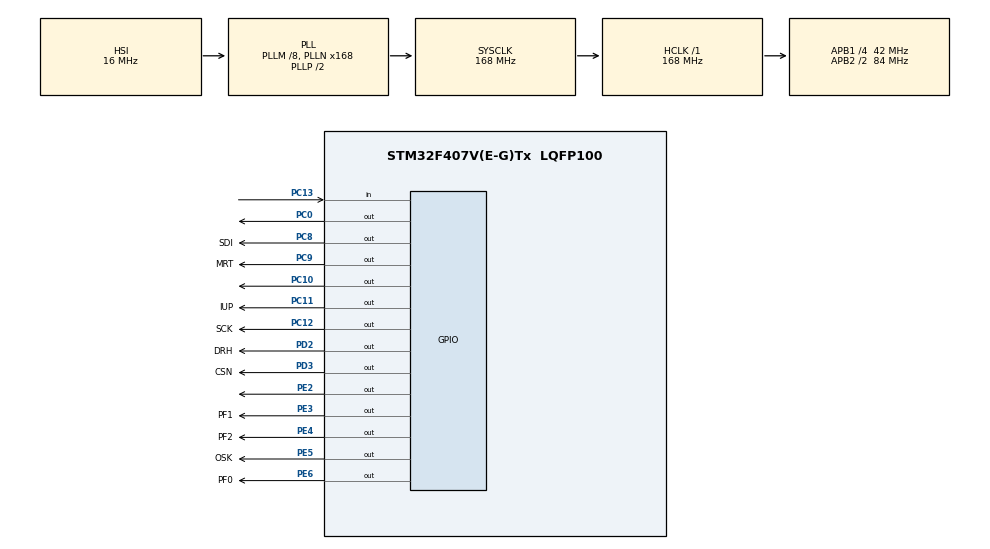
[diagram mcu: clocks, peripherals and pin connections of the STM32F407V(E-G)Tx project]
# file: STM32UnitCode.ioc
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Mcu.Family=STM32F4
Mcu.Name=STM32F407V(E-G)Tx
Mcu.Package=LQFP100
NVIC.PriorityGroup=NVIC_PRIORITYGROUP_4
PA13.Mode=Serial_Wire
PA13.Signal=SYS_JTMS-SWDIO
PA14.Mode=Serial_Wire
PA14.Signal=SYS_JTCK-SWCLK
PC0.Signal=GPIO_Output
PC10.Signal=GPIO_Output
PC11.GPIO_Label=IUP
PC11.Signal=GPIO_Output
PC12.GPIO_Label=SCK
PC12.Signal=GPIO_Output
PC13-ANTI_TAMP.Signal=GPIO_Input
PC14-OSC32_IN.Mode=LSE-External-Oscillator
PC14-OSC32_IN.Signal=RCC_OSC32_IN
PC15-OSC32_OUT.Mode=LSE-External-Oscillator
PC15-OSC32_OUT.Signal=RCC_OSC32_OUT
PC8.GPIO_Label=SDI
PC8.Signal=GPIO_Output
PC9.GPIO_Label=MRT
PC9.Signal=GPIO_Output
PD2.GPIO_Label=DRH
PD2.Signal=GPIO_Output
PD3.GPIO_Label=CSN
PD3.Signal=GPIO_Output
PE2.Signal=GPIO_Output
PE3.GPIO_Label=PF1
PE3.Signal=GPIO_Output
PE4.GPIO_Label=PF2
PE4.Signal=GPIO_Output
PE5.GPIO_Label=OSK
PE5.Signal=GPIO_Output
PE6.GPIO_Label=PF0
PE6.Signal=GPIO_Output
PH0-OSC_IN.Mode=HSE-External-Oscillator
PH0-OSC_IN.Signal=RCC_OSC_IN
PH1-OSC_OUT.Mode=HSE-External-Oscillator
PH1-OSC_OUT.Signal=RCC_OSC_OUT
ProjectManager.HeapSize=0x200
ProjectManager.StackSize=0x400
ProjectManager.TargetToolchain=Makefile
RCC.48MHZClocksFreq_Value=48000000
RCC.AHBFreq_Value=168000000
RCC.APB1CLKDivider=RCC_HCLK_DIV4
RCC.APB1Freq_Value=42000000
RCC.APB1TimFreq_Value=84000000
RCC.APB2CLKDivider=RCC_HCLK_DIV2
RCC.APB2Freq_Value=84000000
RCC.APB2TimFreq_Value=168000000
RCC.CortexFreq_Value=168000000
RCC.HCLKFreq_Value=168000000
RCC.HSE_VALUE=25000000
RCC.HSI_VALUE=16000000
RCC.PLLM=8
RCC.PLLN=168
RCC.PLLQ=7
RCC.SYSCLKFreq_VALUE=168000000
RCC.SYSCLKSource=RCC_SYSCLKSOURCE_PLLCLK
RCC.VCOOutputFreq_Value=336000000
board=custom

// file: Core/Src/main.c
/* USER CODE BEGIN Header */
/**
  ******************************************************************************
  * @file           : main.c
  * @brief          : AD9910 全功能循环验证（软件 SPI）
  * @details        : 每 3 秒切换：单频(20MHz) → OSK(幅度减半) → DRG(20~30MHz扫频)
  *                   → RAM(10MHz幅度正弦调制) → 三角波(~2.4kHz) → 方波(~2.4kHz)
  *                   所有功能均基于 Profile0，不使用 FPGA 并行口。
  *
  *                   修复记录：
  *                   - case1(OSK)：ASF 寄存器位域改为 [15:2]（原 <<18 错误），
  *                     并拉高 OSK 引脚（OSK 低电平输出强制为 0）
  *                   - case3(RAM)：调整为 先 RAMSetProfile 设边界 -> SelectProfile
  *                     -> RAMWrite（写入范围由选中的 RAM Profile 起止地址决定）
  *                   - case4/5：三角波/方波 = RAM 幅度回放 + 载波 FTW=0 + 相位90°，
  *                     输出直接等于包络（单极性 0~满幅，DDS 无负半周）
  *                   - 移除调试残留：state 写死、case2 的 while(1)
  ******************************************************************************
  */
/* USER CODE END Header */

#include "main.h"
#include "gpio.h"

/* USER CODE BEGIN Includes */
#include "ad9910_sw.h"
#include <math.h>     // 用于 RAM 正弦表生成
/* USER CODE END Includes */

/* USER CODE BEGIN PM */

// -------------------- 引脚配置（根据 FPGA 原理图映射） --------------------
const AD9910_SW_PinConfig pin_cfg = {
    .sck_port = GPIOC, .sck_pin = GPIO_PIN_8,   // C08
    .sdi_port = GPIOC, .sdi_pin = GPIO_PIN_12,  // C12
    .cs_port  = GPIOC, .cs_pin  = GPIO_PIN_9,   // C09
    .rst_port = GPIOD, .rst_pin = GPIO_PIN_3,   // D03
    .iup_port = GPIOD, .iup_pin = GPIO_PIN_2,   // D02

    .pf0_port = GPIOE, .pf0_pin = GPIO_PIN_5,   // E05
    .pf1_port = GPIOE, .pf1_pin = GPIO_PIN_4,   // E04
    .pf2_port = GPIOE, .pf2_pin = GPIO_PIN_3,   // E03
    .osk_port = GPIOE, .osk_pin = GPIO_PIN_6,   // E06
    .drc_port = GPIOC, .drc_pin = GPIO_PIN_10,  // C10
    .drh_port = GPIOC, .drh_pin = GPIO_PIN_11,  // C11
};

AD9910_SW_HandleTypeDef had9910;

// RAM 数据缓冲区（1024 点，全局静态）
static uint32_t ram_data[1024];

/* USER CODE END PM */

void SystemClock_Config(void);
/* USER CODE BEGIN PFP */
static void generate_ram_sine_wave(uint16_t amplitude_max);
static void generate_ram_triangle_wave(uint16_t amplitude_max);
static void generate_ram_square_wave(uint16_t amplitude_max);
static void play_ram_amp_wave(uint16_t step_rate, float carrier_hz);
static void set_single_tone(float freq_hz, uint16_t amp, float phase_deg);
/* USER CODE END PFP */

/* USER CODE BEGIN 0 */

/**
  * @brief  生成半正弦波幅度表（逆序存储，适配 RAM 写入顺序）
  * @param  amplitude_max : 14-bit 最大幅度值 (0~0x3FFF)
  */
static void generate_ram_sine_wave(uint16_t amplitude_max)
{
    for (int i = 0; i < 1024; i++) {
        double val = amplitude_max * sin((double)i * 3.1415926 / 1023.0);
        uint32_t reg_val = (uint32_t)(val + 0.5) << 18; // RAM 幅度字格式：ASF 位于 [31:18]
        // 逆序存放：索引 0 对应最高地址（1023），满足驱动要求
        ram_data[1023 - i] = reg_val;
    }
}

/**
  * @brief  生成三角波幅度表（逆序存储）：0 -> max -> 0
  */
static void generate_ram_triangle_wave(uint16_t amplitude_max)
{
    for (int i = 0; i < 1024; i++) {
        uint32_t v = (i < 512) ? ((uint32_t)amplitude_max * i / 512)
                               : ((uint32_t)amplitude_max * (1023 - i) / 512);
        ram_data[1023 - i] = v << 18;
    }
}

/**
  * @brief  生成方波幅度表（逆序存储）：前半周 max，后半周 0
  */
static void generate_ram_square_wave(uint16_t amplitude_max)
{
    for (int i = 0; i < 1024; i++) {
        uint32_t v = (i < 512) ? amplitude_max : 0;
        ram_data[1023 - i] = v << 18;
    }
}

/**
  * @brief  RAM 幅度回放公共流程（顺序不能乱）：
  *         失能 RAM -> 设 Profile 边界 -> 选中 profile -> 写数据 -> 使能回放 -> 载波
  * @param  step_rate  地址步进速率：波形频率 = 250MHz / (step_rate × 1024)
  * @param  carrier_hz 载波频率；基带波形(三角/方波)传 0 并配合相位 90°
  */
static void play_ram_amp_wave(uint16_t step_rate, float carrier_hz)
{
    AD9910_SW_RAMDisable(&had9910);
    AD9910_SW_RAMSetProfile(&had9910, 0, step_rate, 0, 1023, AD9910_RAM_MODE_CONT_RECIRC);
    AD9910_SW_SelectProfile(&had9910, 0);
    AD9910_SW_RAMWrite(&had9910, ram_data, 1024);
    AD9910_SW_RAMEnable(&had9910, AD9910_CFR1_RAM_DEST_AMP);
    AD9910_SW_SetFTW(&had9910, carrier_hz);
}

/**
  * @brief  便捷函数：设置 Profile0 单频参数
  */
static void set_single_tone(float freq_hz, uint16_t amp, float phase_deg)
{
    AD9910_SW_SingleToneSet(&had9910, 0, freq_hz, amp, phase_deg);
    AD9910_SW_SelectProfile(&had9910, 0);
}

/* USER CODE END 0 */

int main(void)
{
  HAL_Init();
  SystemClock_Config();
  MX_GPIO_Init();   // CubeMX 生成，包含所有 GPIO 初始化

  /* USER CODE BEGIN 2 */
  // 1. AD9910 初始化（复位、PLL 40 倍频至 1GHz）
  had9910.sysclk_hz = 1000000000UL;
  AD9910_SW_Init(&had9910, &pin_cfg);

  // 2. RAM 数据表在各状态中按需生成

  // 3. 初始化状态机
  uint8_t state = 2;
  const uint32_t interval_ms = 3000;

  /* USER CODE END 2 */

  while (1)
  {
    switch (state)
    {
        case 0:  // ---------- 单频 20MHz ----------
        {
            AD9910_SW_SingleToneInit(&had9910);
            set_single_tone(20e6f, 0x3FFF, 0.0f);
            break;
        }

        case 1:  // ---------- OSK 自动幅度控制（幅度减半） ----------
        {
            // 载波 20MHz（OSK 使能后幅度由 OSK 接管，Profile 幅度无效，频率照常）
            AD9910_SW_SingleToneInit(&had9910);
            set_single_tone(20e6f, 0x3FFF, 0.0f);

            // 自动 OSK：内部已写满幅 ASF(0x3FFF) + 斜坡速率 ARR(0x0100)
            AD9910_SW_OSKInit(&had9910);
            // 幅度减半：ASF[15:2] = 0x2000，斜坡从 0 升到一半约 8ms
            AD9910_SW_SetASF(&had9910, 0x2000, 0x0100);
            // 关键！OSK 引脚(E06)为低时输出强制为 0，必须拉高
            AD9910_SW_OSKPin(&had9910, 1);
            break;
        }

        case 2:  // ---------- DRG 频率三角波扫描 (20~30MHz) ----------
        {
            // 清除 DRAMP 累加器，确保从下限开始
            AD9910_SW_Write32(&had9910, AD9910_REG_CFR1,
                              AD9910_CFR1_BASE | AD9910_CFR1_CLR_DRAMP);
            AD9910_SW_IOUpdate(&had9910);
            AD9910_SW_Write32(&had9910, AD9910_REG_CFR1, AD9910_CFR1_BASE);
            AD9910_SW_IOUpdate(&had9910);

            // 初始化 DRG（扫频目标），再覆盖 CFR2 增加 NODWELL_HIGH/LOW 实现自动往返
            AD9910_SW_DRGInit(&had9910, AD9910_DRG_FREQ);
            AD9910_SW_Write32(&had9910, AD9910_REG_CFR2,
                              AD9910_CFR2_BASE |
                              AD9910_CFR2_DRG_ENABLE |
                              ((uint32_t)AD9910_DRG_FREQ << 20) |
                              AD9910_CFR2_DRG_NODWELL_HIGH |
                              AD9910_CFR2_DRG_NODWELL_LOW);
            AD9910_SW_IOUpdate(&had9910);

            // 配置斜坡参数：上限 30MHz，下限 20MHz，步进 100kHz，速率 5000
            AD9910_SW_DRGConfigFreq(&had9910,
                                    30e6f,   // upper
                                    20e6f,   // lower
                                    1e5f,    // dec step
                                    1e5f,    // inc step
                                    5000,    // neg rate
                                    5000);   // pos rate

            // 方向向上（DRCTL=0），释放保持（DRH=0）
            AD9910_SW_DRGDirection(&had9910, 1);
            AD9910_SW_DRGHold(&had9910, 0);
            break;
        }

        case 3:  // ---------- RAM 幅度回放（载波 10MHz，半正弦幅度调制） ----------
        {
            generate_ram_sine_wave(0x3FFF);
            play_ram_amp_wave(100, 10e6f);   // 调制频率 ≈ 250M/(100×1024) ≈ 2.4kHz
            break;
        }

        case 4:  // ---------- 三角波（基带 ≈ 2.4kHz，单极性 0~满幅） ----------
        {
            generate_ram_triangle_wave(0x3FFF);
            play_ram_amp_wave(100, 0.0f);    // 载波 FTW=0
            AD9910_SW_SetPhase(&had9910, 90.0f);  // 相位 90° -> sin=1，输出=包络
            break;
        }

        case 5:  // ---------- 方波（基带 ≈ 2.4kHz，单极性 0~满幅） ----------
        {
            generate_ram_square_wave(0x3FFF);
            play_ram_amp_wave(100, 0.0f);    // 载波 FTW=0
            AD9910_SW_SetPhase(&had9910, 90.0f);  // 相位 90° -> sin=1，输出=包络
            break;
        }

        default:
            break;
    }
    while (1)
    {
      /* code */
    }

    // 每 3 秒切换到下一个状态：0 -> 1 -> 2 -> 3 -> 4 -> 5 -> 0 ...
    state = (state + 1) % 6;
    HAL_Delay(interval_ms);
  }
}

void SystemClock_Config(void)
{
  RCC_OscInitTypeDef RCC_OscInitStruct = {0};
  RCC_ClkInitTypeDef RCC_ClkInitStruct = {0};

  __HAL_RCC_PWR_CLK_ENABLE();
  __HAL_PWR_VOLTAGESCALING_CONFIG(PWR_REGULATOR_VOLTAGE_SCALE1);

  RCC_OscInitStruct.OscillatorType = RCC_OSCILLATORTYPE_HSI;
  RCC_OscInitStruct.HSIState = RCC_HSI_ON;
  RCC_OscInitStruct.HSICalibrationValue = RCC_HSICALIBRATION_DEFAULT;
  RCC_OscInitStruct.PLL.PLLState = RCC_PLL_ON;
  RCC_OscInitStruct.PLL.PLLSource = RCC_PLLSOURCE_HSI;
  RCC_OscInitStruct.PLL.PLLM = 8;
  RCC_OscInitStruct.PLL.PLLN = 168;
  RCC_OscInitStruct.PLL.PLLP = RCC_PLLP_DIV2;
  RCC_OscInitStruct.PLL.PLLQ = 7;
  if (HAL_RCC_OscConfig(&RCC_OscInitStruct) != HAL_OK) Error_Handler();

  RCC_ClkInitStruct.ClockType = RCC_CLOCKTYPE_HCLK|RCC_CLOCKTYPE_SYSCLK
                              |RCC_CLOCKTYPE_PCLK1|RCC_CLOCKTYPE_PCLK2;
  RCC_ClkInitStruct.SYSCLKSource = RCC_SYSCLKSOURCE_PLLCLK;
  RCC_ClkInitStruct.AHBCLKDivider = RCC_SYSCLK_DIV1;
  RCC_ClkInitStruct.APB1CLKDivider = RCC_HCLK_DIV4;
  RCC_ClkInitStruct.APB2CLKDivider = RCC_HCLK_DIV2;
  if (HAL_RCC_ClockConfig(&RCC_ClkInitStruct, FLASH_LATENCY_5) != HAL_OK) Error_Handler();
}

/**
  * @brief  Error handler.
  */
void Error_Handler(void)
{
  __disable_irq();
  while (1) {}
}
